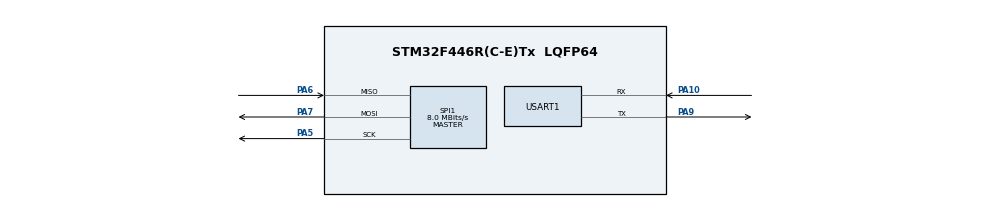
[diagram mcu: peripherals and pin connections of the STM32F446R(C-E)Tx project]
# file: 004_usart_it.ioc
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Mcu.Family=STM32F4
Mcu.Name=STM32F446R(C-E)Tx
Mcu.Package=LQFP64
NVIC.PriorityGroup=NVIC_PRIORITYGROUP_4
NVIC.USART1_IRQn=true\:0\:0\:false\:false\:true\:true\:true\:true
PA10.Mode=Asynchronous
PA10.Signal=USART1_RX
PA5.Mode=Full_Duplex_Master
PA5.Signal=SPI1_SCK
PA6.Mode=Full_Duplex_Master
PA6.Signal=SPI1_MISO
PA7.Mode=Full_Duplex_Master
PA7.Signal=SPI1_MOSI
PA9.Mode=Asynchronous
PA9.Signal=USART1_TX
ProjectManager.HeapSize=0x200
ProjectManager.StackSize=0x400
ProjectManager.TargetToolchain=STM32CubeIDE
RCC.CortexFreq_Value=16000000
RCC.USBFreq_Value=96000000
RCC.VCOOutputFreq_Value=192000000
SPI1.CalculateBaudRate=8.0 MBits/s
SPI1.Direction=SPI_DIRECTION_2LINES
SPI1.Mode=SPI_MODE_MASTER
SPI1.VirtualType=VM_MASTER
USART1.VirtualMode=VM_ASYNC
board=custom

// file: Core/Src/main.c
/* USER CODE BEGIN Header */
/**
  ******************************************************************************
  * @file           : main.c
  * @brief          : Main program body
  ******************************************************************************
  * @attention
  *
  * Copyright (c) 2025 STMicroelectronics.
  * All rights reserved.
  *
  * This software is licensed under terms that can be found in the LICENSE file
  * in the root directory of this software component.
  * If no LICENSE file comes with this software, it is provided AS-IS.
  *
  ******************************************************************************
  */
/* USER CODE END Header */
#include "main.h"

/* USER CODE BEGIN Includes */
#include "ringbuffer.h"
#include <string.h>
#include <stdio.h>
#include <stdlib.h>
/* USER CODE END Includes */

/* USER CODE BEGIN PD */
#define WELCOME_MSG "Welcome to the Nucleo management console\r\n"
#define MAIN_MENU   "Select the option you are interested in:\r\n\t1. Toggle LD2 LED\r\n\t2. Read USER BUTTON status\r\n\t3. Clear screen and print this message "
#define PROMPT "\r\n> "
/* USER CODE END PD */

/* USER CODE BEGIN PM */
char readBuf[1];
uint8_t txData;
__IO ITStatus UartReady = SET;
RingBuffer txBuf, rxBuf;
/* USER CODE END PM */

SPI_HandleTypeDef hspi1;

UART_HandleTypeDef huart1;

void SystemClock_Config(void);
static void MX_GPIO_Init(void);
static void MX_SPI1_Init(void);
static void MX_USART1_UART_Init(void);
/* USER CODE BEGIN PFP */
void printWelcomeMessage(void);
uint8_t UART_Transmit(UART_HandleTypeDef *huart, uint8_t *pData, uint16_t len);
/* USER CODE END PFP */

int main(void)
{

  /* MCU Configuration--------------------------------------------------------*/

  /* Reset of all peripherals, Initializes the Flash interface and the Systick. */
  HAL_Init();

  /* Configure the system clock */
  SystemClock_Config();

  /* Initialize all configured peripherals */
  MX_GPIO_Init();
  MX_SPI1_Init();
  MX_USART1_UART_Init();
  /* USER CODE BEGIN 2 */
  HAL_NVIC_SetPriority(USART1_IRQn, 0, 0);
  HAL_NVIC_EnableIRQ(USART1_IRQn);

//  printWelcomeMessage();

  /* USER CODE END 2 */

  /* Infinite loop */
  /* USER CODE BEGIN WHILE */
  while (1)
  {
	  UART_Transmit(&huart1, (uint8_t*)WELCOME_MSG, strlen(WELCOME_MSG));
    /* USER CODE END WHILE */

  }
}

void SystemClock_Config(void)
{
  RCC_OscInitTypeDef RCC_OscInitStruct = {0};
  RCC_ClkInitTypeDef RCC_ClkInitStruct = {0};

  /** Configure the main internal regulator output voltage
  */
  __HAL_RCC_PWR_CLK_ENABLE();
  __HAL_PWR_VOLTAGESCALING_CONFIG(PWR_REGULATOR_VOLTAGE_SCALE3);

  /** Initializes the RCC Oscillators according to the specified parameters
  * in the RCC_OscInitTypeDef structure.
  */
  RCC_OscInitStruct.OscillatorType = RCC_OSCILLATORTYPE_HSI;
  RCC_OscInitStruct.HSIState = RCC_HSI_ON;
  RCC_OscInitStruct.HSICalibrationValue = RCC_HSICALIBRATION_DEFAULT;
  RCC_OscInitStruct.PLL.PLLState = RCC_PLL_NONE;
  if (HAL_RCC_OscConfig(&RCC_OscInitStruct) != HAL_OK)
  {
    Error_Handler();
  }

  /** Initializes the CPU, AHB and APB buses clocks
  */
  RCC_ClkInitStruct.ClockType = RCC_CLOCKTYPE_HCLK|RCC_CLOCKTYPE_SYSCLK
                              |RCC_CLOCKTYPE_PCLK1|RCC_CLOCKTYPE_PCLK2;
  RCC_ClkInitStruct.SYSCLKSource = RCC_SYSCLKSOURCE_HSI;
  RCC_ClkInitStruct.AHBCLKDivider = RCC_SYSCLK_DIV1;
  RCC_ClkInitStruct.APB1CLKDivider = RCC_HCLK_DIV1;
  RCC_ClkInitStruct.APB2CLKDivider = RCC_HCLK_DIV1;

  if (HAL_RCC_ClockConfig(&RCC_ClkInitStruct, FLASH_LATENCY_0) != HAL_OK)
  {
    Error_Handler();
  }
}

static void MX_SPI1_Init(void)
{

  /* SPI1 parameter configuration*/
  hspi1.Instance = SPI1;
  hspi1.Init.Mode = SPI_MODE_MASTER;
  hspi1.Init.Direction = SPI_DIRECTION_2LINES;
  hspi1.Init.DataSize = SPI_DATASIZE_8BIT;
  hspi1.Init.CLKPolarity = SPI_POLARITY_LOW;
  hspi1.Init.CLKPhase = SPI_PHASE_1EDGE;
  hspi1.Init.NSS = SPI_NSS_SOFT;
  hspi1.Init.BaudRatePrescaler = SPI_BAUDRATEPRESCALER_2;
  hspi1.Init.FirstBit = SPI_FIRSTBIT_MSB;
  hspi1.Init.TIMode = SPI_TIMODE_DISABLE;
  hspi1.Init.CRCCalculation = SPI_CRCCALCULATION_DISABLE;
  hspi1.Init.CRCPolynomial = 10;
  if (HAL_SPI_Init(&hspi1) != HAL_OK)
  {
    Error_Handler();
  }

}

static void MX_USART1_UART_Init(void)
{

  huart1.Instance = USART1;
  huart1.Init.BaudRate = 115200;
  huart1.Init.WordLength = UART_WORDLENGTH_8B;
  huart1.Init.StopBits = UART_STOPBITS_1;
  huart1.Init.Parity = UART_PARITY_NONE;
  huart1.Init.Mode = UART_MODE_TX_RX;
  huart1.Init.HwFlowCtl = UART_HWCONTROL_NONE;
  huart1.Init.OverSampling = UART_OVERSAMPLING_16;
  if (HAL_UART_Init(&huart1) != HAL_OK)
  {
    Error_Handler();
  }

}

static void MX_GPIO_Init(void)
{

  /* GPIO Ports Clock Enable */
  __HAL_RCC_GPIOA_CLK_ENABLE();

}

/* USER CODE BEGIN 4 */
uint8_t UART_Transmit(UART_HandleTypeDef *huart, uint8_t *pData, uint16_t len)
{
  if(HAL_UART_Transmit_IT(huart, pData, len) != HAL_OK)
  {
    if(RingBuffer_Write(&txBuf, pData, len) != RING_BUFFER_OK)
      return 0;
  }
  return 1;
}

void HAL_UART_RxCpltCallback(UART_HandleTypeDef *UartHandle)
{
 /* Set transmission flag: transfer complete*/
 UartReady = SET;
}

void HAL_UART_TxCpltCallback(UART_HandleTypeDef *huart)
{
  if(RingBuffer_GetDataLength(&txBuf) > 0)
  {
    RingBuffer_Read(&txBuf, &txData, 1);
    HAL_UART_Transmit_IT(huart, &txData, 1);
  }
}

void printWelcomeMessage(void)
{
  char *strings[] = {"\033[0;0H", "\033[2J", WELCOME_MSG, MAIN_MENU, PROMPT};

  for (uint8_t i = 0; i < 5; i++)
    UART_Transmit(&huart1, (uint8_t*)strings[i], strlen(strings[i]));
}
/* USER CODE END 4 */

void Error_Handler(void)
{
  __disable_irq();
  while (1)
  {
  }
}
